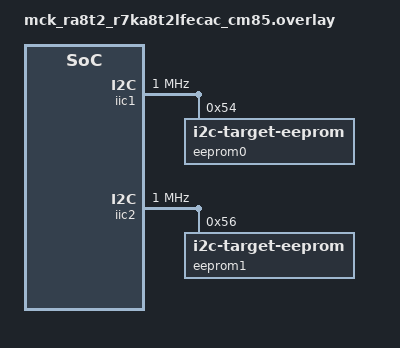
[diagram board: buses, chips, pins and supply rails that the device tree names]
/*
 * Copyright (c) 2025 Renesas Electronics Corporation
 *
 * SPDX-License-Identifier: Apache-2.0
 */

/* To test this sample, connect
 * SCL1 P205  -->  SCL2 P515
 * SDA1 P204  -->  SDA2 P514
 */

&pinctrl {
	iic1_default: iic1_default {
		group1 {
			/* SCL1 SDA1 */
			psels = <RA_PSEL(RA_PSEL_I2C, 2, 5)>,
				<RA_PSEL(RA_PSEL_I2C, 2, 4)>;
			drive-strength = "medium";
		};
	};

	iic2_default: iic2_default {
		group1 {
			/* SCL2 SDA2 */
			psels = <RA_PSEL(RA_PSEL_I2C, 5, 15)>,
				<RA_PSEL(RA_PSEL_I2C, 5, 14)>;
			drive-strength = "medium";
		};
	};
};

&iic1 {
	#address-cells = <1>;
	#size-cells = <0>;
	clock-frequency = <I2C_BITRATE_FAST_PLUS>;
	pinctrl-0 = <&iic1_default>;
	pinctrl-names = "default";
	interrupts = <88 1>, <89 1>, <90 1>, <91 1>;
	interrupt-names = "rxi", "txi", "tei", "eri";
	status = "okay";

	eeprom0: eeprom@54 {
		compatible = "zephyr,i2c-target-eeprom";
		address-width = <8>;
		reg = <0x54>;
		size = <256>;
	};
};

&iic2 {
	#address-cells = <1>;
	#size-cells = <0>;
	clock-frequency = <I2C_BITRATE_FAST_PLUS>;
	pinctrl-0 = <&iic2_default>;
	pinctrl-names = "default";
	interrupts = <92 1>, <93 1>, <94 1>, <95 1>;
	interrupt-names = "rxi", "txi", "tei", "eri";
	status = "okay";

	eeprom1: eeprom@56 {
		compatible = "zephyr,i2c-target-eeprom";
		reg = <0x56>;
		size = <256>;
	};
};
